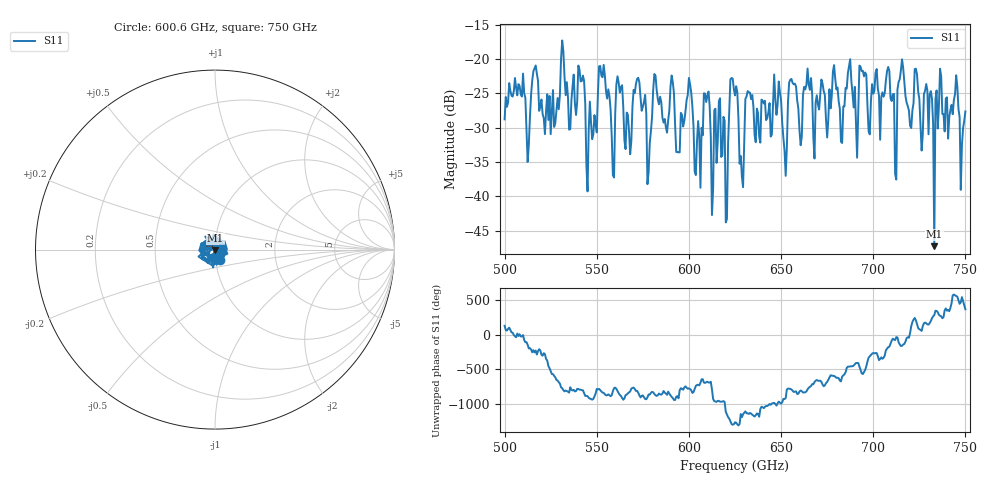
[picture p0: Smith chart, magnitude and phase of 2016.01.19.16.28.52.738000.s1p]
!Created with skrf (http://scikit-rf.org).
# GHz S RI R 50.0
!freq ReS11 ImS11
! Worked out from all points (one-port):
!   401 points, 500 GHz to 750 GHz, reference 50 ohm
!   lowest |S11| = -47.3 dB at 733.1 GHz (marker M1), VSWR 1.01, Z = 50.1 - j0.418 ohm
!   |S11| at or under -10 dB: start of sweep to end of sweep
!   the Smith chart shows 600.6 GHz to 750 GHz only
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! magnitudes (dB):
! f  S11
! 500 GHz  -28.8
! 513.1 GHz  -32.5
! 516.9 GHz  -20.9
! 526.2 GHz  -24.5
! 531.2 GHz  -17.3
! 541.9 GHz  -23.2
! 545.6 GHz  -30.3
! 552.5 GHz  -22.4
! 558.8 GHz  -36.9
! 562.5 GHz  -24.9
! 578.8 GHz  -32.2
! 581.9 GHz  -22.4
! 590.6 GHz  -22.4
! 593.8 GHz  -33.5
! 600 GHz  -22.7
! 605 GHz  -29.0
! 609.4 GHz  -26.3
! 619.4 GHz  -29.0
! 625 GHz  -25.3
! 628.8 GHz  -37.2
! 631.9 GHz  -24.7
! 651.9 GHz  -33.3
! 656.2 GHz  -23.5
! 683.1 GHz  -32.2
! 687.5 GHz  -20.0
! 718.8 GHz  -26.9
! 733.1 GHz  -47.3
! 750 GHz  -27.6
